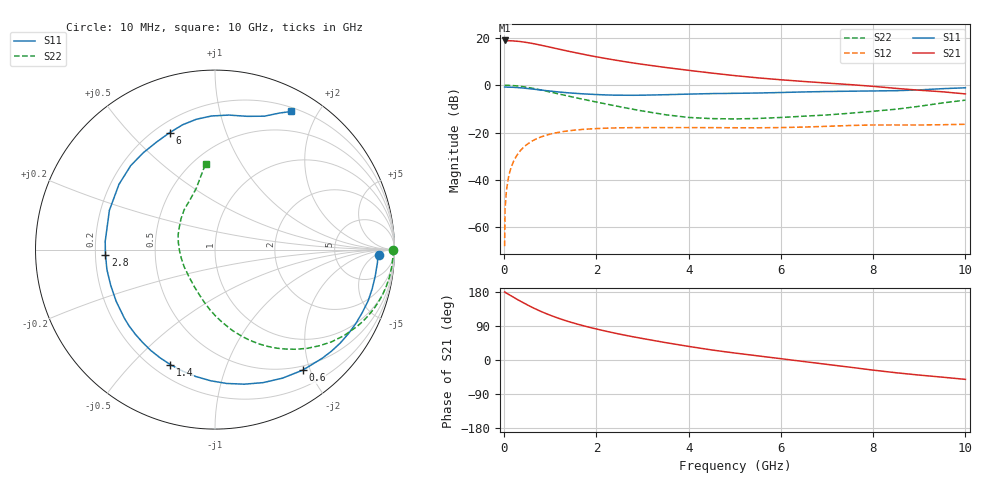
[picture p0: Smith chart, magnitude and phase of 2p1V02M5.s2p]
! (c) 2009  Infineon Technologies AG, Munich
! Infineon Technologies  Discrete & RF Semiconductors
! BFP420
! VCE =  1.0 V,  IC =  2.5 mA
! Common Emitter S-Parameters:  Nov 2009
# GHz  S  MA  R  50
!  f  S11  S21  S12  S22
! GHz  MAG  ANG  MAG  ANG  MAG  ANG  MAG  ANG
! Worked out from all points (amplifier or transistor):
!   46 points, 10 MHz to 10 GHz, reference 50 ohm
!   highest |S21| = 18.9 dB at 10 MHz (marker M1)
!   |S21| within 3 dB of that: start of sweep to 1.034 GHz
!   unconditionally stable (mu >= 1): 3.69 GHz to end of sweep
!   at 300 MHz: K = 0.05, MSG = 23.7 dB, |S12| = -28.9 dB
!   at 1.7 GHz: K = 0.42, MSG = 15.9 dB, |S12| = -18.7 dB
!   at 10 GHz: K = 1.18, MAG = 3.9 dB, |S12| = -16.5 dB
!   lowest NFmin = 0.55 dB at 900 MHz
!   S11 on the Smith chart (normalised r, x): 10 MHz: 20, -7; 600 MHz: 0.43, -1.88; 1.4 GHz: 0.27, -0.65; 2.8 GHz: 0.24, -0.02; 6 GHz: 0.26, +0.65; 10 GHz: 0.25, +1.67
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0.01  0.9135 -1.8  8.762 179.4  0.0004 95.7  0.9909 -0.1
0.02  0.9082 -1.9  8.557 179.0  0.0024 91.0  0.9917 -1.1
0.05  0.908 -4.5  8.606 176.4  0.006 87.0  0.9916 -2.9
0.1  0.9048 -9.4  8.645 172.9  0.0123 85.0  0.9888 -6.0
0.2  0.8997 -18.5  8.566 165.9  0.0242 79.6  0.9764 -11.9
0.35  0.8786 -32.3  8.297 155.5  0.0413 71.6  0.9441 -20.5
0.5  0.8506 -45.4  7.905 145.6  0.0566 64.2  0.8984 -28.6
0.6  0.8305 -54.0  7.611 139.4  0.0656 59.4  0.8639 -33.7
0.7  0.8089 -62.3  7.29 133.6  0.0737 55.1  0.8269 -38.5
0.9  0.7674 -77.7  6.626 122.9  0.0871 47.3  0.7521 -47.0
1.2  0.7149 -98.7  5.71 109.2  0.1018 37.7  0.6466 -58.1
1.4  0.6873 -111.3  5.179 101.3  0.1087 32.3  0.5853 -64.4
1.7  0.6554 -128.2  4.513 91.0  0.1162 25.6  0.5058 -72.8
2.2  0.6214 -152.4  3.655 76.2  0.1234 16.8  0.402 -85.0
2.8  0.6109 -177.2  2.933 61.2  0.1268 8.7  0.3091 -99.6
3.5  0.6278 159.6  2.359 45.9  0.1272 1.8  0.2371 -119.0
4.5  0.6629 135.1  1.796 26.5  0.1268 -4.9  0.1965 -151.1
5.5  0.6816 118.7  1.425 10.9  0.126 -8.7  0.198 -178.2
6  0.6989 111.2  1.297 3.5  0.1272 -9.8  0.2078 169.2
7  0.7336 98.1  1.105 -11.6  0.1352 -12.9  0.2347 148.0
8.5  0.7639 76.4  0.854 -33.7  0.1445 -22.5  0.3108 116.5
10  0.8791 61.1  0.653 -51.1  0.1493 -28.2  0.4824 96.2
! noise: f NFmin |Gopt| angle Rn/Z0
0.9  0.55  0.41  33  0.2
1.8  1.02  0.24  78  0.16
2.4  1.11  0.26  103  0.15
3  1.28  0.27  140  0.11
4  1.5  0.34  -163  0.1
5  1.85  0.4  -130  0.26
6  2.56  0.5  -109  0.35
